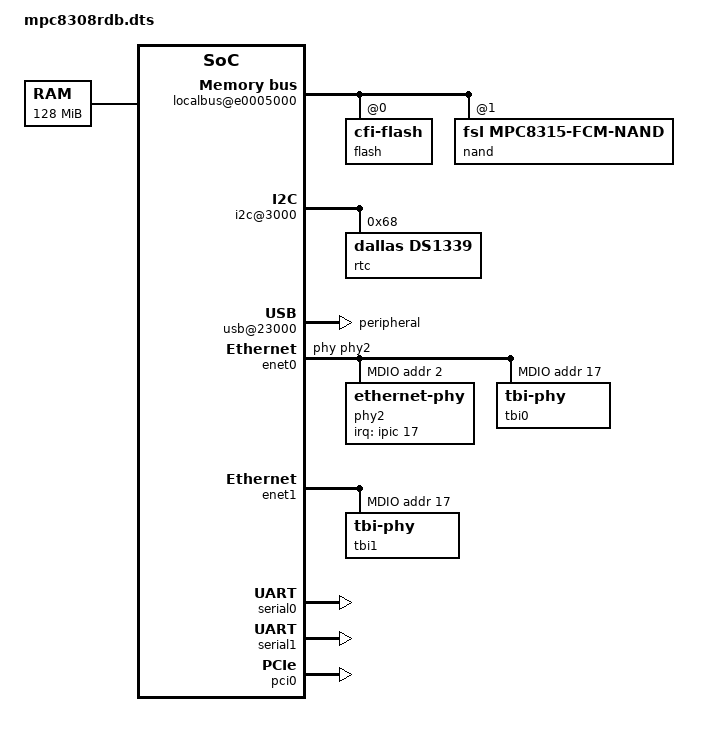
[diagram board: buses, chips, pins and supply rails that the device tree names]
// SPDX-License-Identifier: GPL-2.0-or-later
/*
 * MPC8308RDB Device Tree Source
 *
 * Copyright 2009 Freescale Semiconductor Inc.
 * Copyright 2010 Ilya Yanok, Emcraft Systems, yanok@emcraft.com
 */

/dts-v1/;

/ {
	compatible = "fsl,mpc8308rdb";
	#address-cells = <1>;
	#size-cells = <1>;

	aliases {
		ethernet0 = &enet0;
		ethernet1 = &enet1;
		serial0 = &serial0;
		serial1 = &serial1;
		pci0 = &pci0;
	};

	cpus {
		#address-cells = <1>;
		#size-cells = <0>;

		PowerPC,8308@0 {
			device_type = "cpu";
			reg = <0x0>;
			d-cache-line-size = <32>;
			i-cache-line-size = <32>;
			d-cache-size = <16384>;
			i-cache-size = <16384>;
			timebase-frequency = <0>;	// from bootloader
			bus-frequency = <0>;		// from bootloader
			clock-frequency = <0>;		// from bootloader
		};
	};

	memory {
		device_type = "memory";
		reg = <0x00000000 0x08000000>;	// 128MB at 0
	};

	localbus@e0005000 {
		#address-cells = <2>;
		#size-cells = <1>;
		compatible = "fsl,mpc8315-elbc", "fsl,elbc", "simple-bus";
		reg = <0xe0005000 0x1000>;
		interrupts = <77 0x8>;
		interrupt-parent = <&ipic>;

		// CS0 and CS1 are swapped when
		// booting from nand, but the
		// addresses are the same.
		ranges = <0x0 0x0 0xfe000000 0x00800000
		          0x1 0x0 0xe0600000 0x00002000
		          0x2 0x0 0xf0000000 0x00020000
		          0x3 0x0 0xfa000000 0x00008000>;

		flash@0,0 {
			#address-cells = <1>;
			#size-cells = <1>;
			compatible = "cfi-flash";
			reg = <0x0 0x0 0x800000>;
			bank-width = <2>;
			device-width = <1>;

			u-boot@0 {
				reg = <0x0 0x60000>;
				read-only;
			};
			env@60000 {
				reg = <0x60000 0x10000>;
			};
			env1@70000 {
				reg = <0x70000 0x10000>;
			};
			kernel@80000 {
				reg = <0x80000 0x200000>;
			};
			dtb@280000 {
				reg = <0x280000 0x10000>;
			};
			ramdisk@290000 {
				reg = <0x290000 0x570000>;
			};
		};

		nand@1,0 {
			#address-cells = <1>;
			#size-cells = <1>;
			compatible = "fsl,mpc8315-fcm-nand",
			             "fsl,elbc-fcm-nand";
			reg = <0x1 0x0 0x2000>;

			jffs2@0 {
				reg = <0x0 0x2000000>;
			};
		};
	};

	immr@e0000000 {
		#address-cells = <1>;
		#size-cells = <1>;
		device_type = "soc";
		compatible = "fsl,mpc8308-immr", "simple-bus";
		ranges = <0 0xe0000000 0x00100000>;
		reg = <0xe0000000 0x00000200>;
		bus-frequency = <0>;

		i2c@3000 {
			#address-cells = <1>;
			#size-cells = <0>;
			cell-index = <0>;
			compatible = "fsl-i2c";
			reg = <0x3000 0x100>;
			interrupts = <14 0x8>;
			interrupt-parent = <&ipic>;
			dfsrr;
			rtc@68 {
				compatible = "dallas,ds1339";
				reg = <0x68>;
			};
		};

		usb@23000 {
			compatible = "fsl-usb2-dr";
			reg = <0x23000 0x1000>;
			#address-cells = <1>;
			#size-cells = <0>;
			interrupt-parent = <&ipic>;
			interrupts = <38 0x8>;
			dr_mode = "peripheral";
			phy_type = "ulpi";
		};

		enet0: ethernet@24000 {
			#address-cells = <1>;
			#size-cells = <1>;
			ranges = <0x0 0x24000 0x1000>;

			cell-index = <0>;
			device_type = "network";
			model = "eTSEC";
			compatible = "gianfar";
			reg = <0x24000 0x1000>;
			local-mac-address = [ 00 00 00 00 00 00 ];
			interrupts = <32 0x8 33 0x8 34 0x8>;
			interrupt-parent = <&ipic>;
			tbi-handle = < &tbi0 >;
			phy-handle = < &phy2 >;
			fsl,magic-packet;

			mdio@520 {
				#address-cells = <1>;
				#size-cells = <0>;
				compatible = "fsl,gianfar-mdio";
				reg = <0x520 0x20>;
				phy2: ethernet-phy@2 {
					interrupt-parent = <&ipic>;
					interrupts = <17 0x8>;
					reg = <0x2>;
				};
				tbi0: tbi-phy@11 {
					reg = <0x11>;
					device_type = "tbi-phy";
				};
			};
		};

		enet1: ethernet@25000 {
			#address-cells = <1>;
			#size-cells = <1>;
			cell-index = <1>;
			device_type = "network";
			model = "eTSEC";
			compatible = "gianfar";
			reg = <0x25000 0x1000>;
			ranges = <0x0 0x25000 0x1000>;
			local-mac-address = [ 00 00 00 00 00 00 ];
			interrupts = <35 0x8 36 0x8 37 0x8>;
			interrupt-parent = <&ipic>;
			tbi-handle = < &tbi1 >;
			/* Vitesse 7385 isn't on the MDIO bus */
			fixed-link = <1 1 1000 0 0>;
			fsl,magic-packet;

			mdio@520 {
				#address-cells = <1>;
				#size-cells = <0>;
				compatible = "fsl,gianfar-tbi";
				reg = <0x520 0x20>;

				tbi1: tbi-phy@11 {
					reg = <0x11>;
					device_type = "tbi-phy";
				};
			};
		};

		serial0: serial@4500 {
			cell-index = <0>;
			device_type = "serial";
			compatible = "fsl,ns16550", "ns16550";
			reg = <0x4500 0x100>;
			clock-frequency = <133333333>;
			interrupts = <9 0x8>;
			interrupt-parent = <&ipic>;
		};

		serial1: serial@4600 {
			cell-index = <1>;
			device_type = "serial";
			compatible = "fsl,ns16550", "ns16550";
			reg = <0x4600 0x100>;
			clock-frequency = <133333333>;
			interrupts = <10 0x8>;
			interrupt-parent = <&ipic>;
		};

		gpio@c00 {
			#gpio-cells = <2>;
			device_type = "gpio";
			compatible = "fsl,mpc8308-gpio", "fsl,mpc8349-gpio";
			reg = <0xc00 0x18>;
			interrupts = <74 0x8>;
			interrupt-parent = <&ipic>;
			gpio-controller;
		};

		/* IPIC
		 * interrupts cell = <intr #, sense>
		 * sense values match linux IORESOURCE_IRQ_* defines:
		 * sense == 8: Level, low assertion
		 * sense == 2: Edge, high-to-low change
		 */
		ipic: interrupt-controller@700 {
			compatible = "fsl,ipic";
			interrupt-controller;
			#address-cells = <0>;
			#interrupt-cells = <2>;
			reg = <0x700 0x100>;
			device_type = "ipic";
		};

		ipic-msi@7c0 {
			compatible = "fsl,ipic-msi";
			reg = <0x7c0 0x40>;
			msi-available-ranges = <0x0 0x100>;
			interrupts = < 0x43 0x8
					0x4  0x8
					0x51 0x8
					0x52 0x8
					0x56 0x8
					0x57 0x8
					0x58 0x8
					0x59 0x8 >;
			interrupt-parent = < &ipic >;
		};

		dma@2c000 {
			compatible = "fsl,mpc8308-dma";
			reg = <0x2c000 0x1800>;
			interrupts = <3 0x8
					94 0x8>;
			interrupt-parent = < &ipic >;
		};

	};

	pci0: pcie@e0009000 {
		#address-cells = <3>;
		#size-cells = <2>;
		#interrupt-cells = <1>;
		device_type = "pci";
		compatible = "fsl,mpc8308-pcie", "fsl,mpc8314-pcie";
		reg = <0xe0009000 0x00001000
			0xb0000000 0x01000000>;
		ranges = <0x02000000 0 0xa0000000 0xa0000000 0 0x10000000
		          0x01000000 0 0x00000000 0xb1000000 0 0x00800000>;
		bus-range = <0 0>;
		interrupt-map-mask = <0xf800 0 0 7>;
		interrupt-map = <0 0 0 1 &ipic 1 8
				 0 0 0 2 &ipic 1 8
				 0 0 0 3 &ipic 1 8
				 0 0 0 4 &ipic 1 8>;
		interrupts = <0x1 0x8>;
		interrupt-parent = <&ipic>;
		clock-frequency = <0>;

		pcie@0 {
			#address-cells = <3>;
			#size-cells = <2>;
			device_type = "pci";
			reg = <0 0 0 0 0>;
			ranges = <0x02000000 0 0xa0000000
				  0x02000000 0 0xa0000000
				  0 0x10000000
				  0x01000000 0 0x00000000
				  0x01000000 0 0x00000000
				  0 0x00800000>;
		};
	};
};
